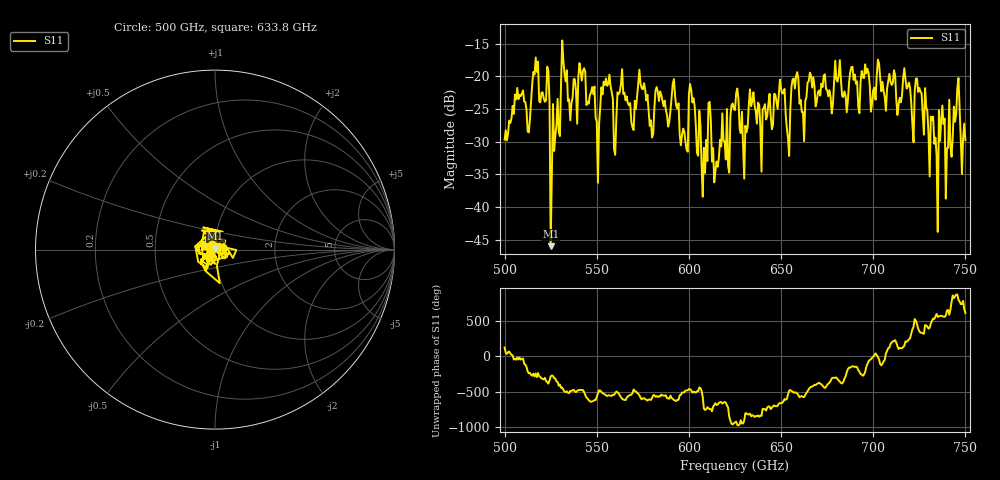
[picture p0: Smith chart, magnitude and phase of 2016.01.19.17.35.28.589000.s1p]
!Created with skrf (http://scikit-rf.org).
# GHz S RI R 50.0
!freq ReS11 ImS11
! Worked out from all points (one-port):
!   401 points, 500 GHz to 750 GHz, reference 50 ohm
!   lowest |S11| = -46.0 dB at 525 GHz (marker M1), VSWR 1.01, Z = 50.1 + j0.491 ohm
!   |S11| at or under -10 dB: start of sweep to end of sweep
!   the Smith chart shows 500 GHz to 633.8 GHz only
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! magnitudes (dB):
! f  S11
! 500 GHz  -29.7
! 513.1 GHz  -28.6
! 516.9 GHz  -17.1
! 523.1 GHz  -18.5
! 525 GHz  -46.0
! 526.2 GHz  -24.2
! 531.2 GHz  -14.5
! 541.9 GHz  -20.6
! 550.6 GHz  -36.3
! 553.8 GHz  -20.8
! 562.5 GHz  -22.4
! 593.8 GHz  -24.9
! 598.1 GHz  -30.0
! 601.2 GHz  -22.1
! 607.5 GHz  -38.4
! 610.6 GHz  -24.0
! 615 GHz  -33.0
! 625 GHz  -25.2
! 630.6 GHz  -27.6
! 633.8 GHz  -24.6
! 650.6 GHz  -22.6
! 653.8 GHz  -29.5
! 656.2 GHz  -20.4
! 687.5 GHz  -19.4
! 718.8 GHz  -21.5
! 733.8 GHz  -29.4
! 745 GHz  -25.7
! 750 GHz  -29.8
